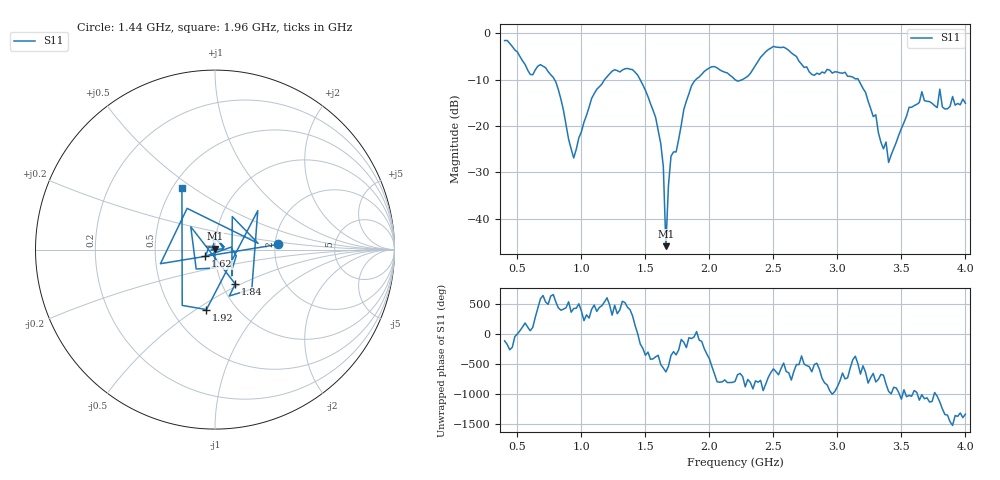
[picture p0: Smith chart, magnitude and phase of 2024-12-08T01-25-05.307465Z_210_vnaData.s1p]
!Created with skrf (http://scikit-rf.org).
# Hz S RI R 50.0
!freq ReS11 ImS11
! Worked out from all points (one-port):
!   181 points, 400 MHz to 4 GHz, reference 50 ohm
!   lowest |S11| = -45.9 dB at 1.66 GHz (marker M1), VSWR 1.01, Z = 50 + j0.507 ohm
!   |S11| at or under -10 dB: 789.8 MHz to 1.181 GHz (391.1 MHz wide, 39.7 % of centre); 1.459 GHz to 1.894 GHz (435.7 MHz wide, 26 % of centre); 3.164 GHz to end of sweep (the widest 3 of 4)
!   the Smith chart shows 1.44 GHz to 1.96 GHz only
!   S11 on the Smith chart (normalised r, x): 1.44 GHz: 2.08, +0.14; 1.62 GHz: 0.90, -0.07; 1.84 GHz: 1.15, -0.47; 1.92 GHz: 0.73, -0.55; 1.96 GHz: 0.56, +0.45
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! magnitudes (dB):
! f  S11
! 400 MHz  -1.6
! 600 MHz  -8.9
! 720 MHz  -7.4
! 860 MHz  -16.6
! 940 MHz  -26.9
! 1.1 GHz  -13.0
! 1.3 GHz  -8.4
! 1.44 GHz  -9.0
! 1.62 GHz  -23.8
! 1.64 GHz  -28.7
! 1.66 GHz  -45.9
! 1.7 GHz  -26.5
! 1.76 GHz  -22.9
! 1.84 GHz  -13.1
! 1.92 GHz  -9.4
! 1.96 GHz  -8.2
! 2.2 GHz  -10.0
! 2.5 GHz  -2.8
! 2.66 GHz  -4.7
! 3.1 GHz  -9.3
! 3.3 GHz  -17.6
! 3.4 GHz  -27.9
! 3.56 GHz  -16.0
! 3.66 GHz  -12.6
! 3.78 GHz  -16.0
! 3.8 GHz  -12.1
! 3.84 GHz  -16.3
! 4 GHz  -15.1
